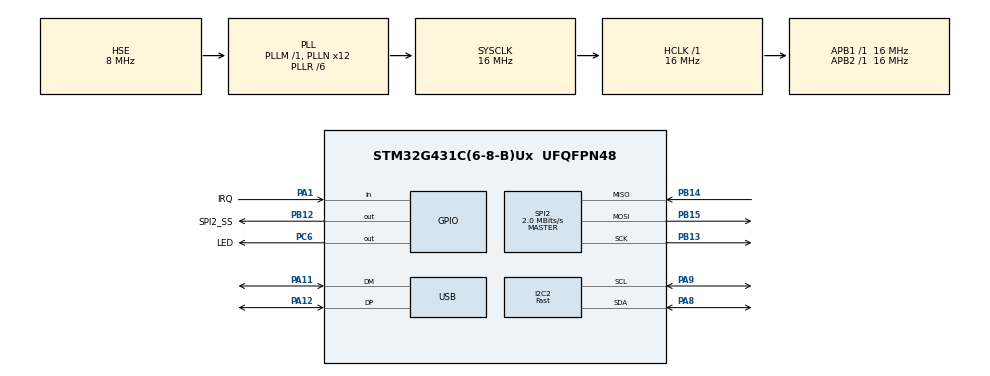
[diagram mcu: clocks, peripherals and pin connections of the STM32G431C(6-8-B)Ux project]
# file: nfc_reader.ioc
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I2C2.Analog_Filter=I2C_ANALOGFILTER_ENABLE
I2C2.I2C_Speed_Mode=I2C_Fast
I2C2.Timing=0x00300617
Mcu.Family=STM32G4
Mcu.Name=STM32G431C(6-8-B)Ux
Mcu.Package=UFQFPN48
NVIC.I2C2_EV_IRQn=true\:0\:0\:false\:false\:true\:true\:true\:true
NVIC.PriorityGroup=NVIC_PRIORITYGROUP_4
NVIC.USB_LP_IRQn=true\:0\:0\:false\:false\:true\:false\:true\:true
PA1.GPIO_Label=IRQ
PA1.Signal=GPIO_Input
PA11.Mode=Device
PA11.Signal=USB_DM
PA12.Mode=Device
PA12.Signal=USB_DP
PA13.Mode=Serial_Wire
PA13.Signal=SYS_JTMS-SWDIO
PA14.Mode=Serial_Wire
PA14.Signal=SYS_JTCK-SWCLK
PA8.GPIO_Pu=GPIO_NOPULL
PA8.GPIO_Speed=GPIO_SPEED_FREQ_HIGH
PA8.Mode=I2C
PA8.Signal=I2C2_SDA
PA9.GPIO_Pu=GPIO_NOPULL
PA9.GPIO_Speed=GPIO_SPEED_FREQ_HIGH
PA9.Mode=I2C
PA9.Signal=I2C2_SCL
PB12.GPIO_Label=SPI2_SS
PB12.GPIO_PuPd=GPIO_PULLUP
PB12.PinState=GPIO_PIN_SET
PB12.Signal=GPIO_Output
PB13.GPIO_Speed=GPIO_SPEED_FREQ_HIGH
PB13.Mode=Full_Duplex_Master
PB13.Signal=SPI2_SCK
PB14.GPIO_PuPd=GPIO_PULLDOWN
PB14.GPIO_Speed=GPIO_SPEED_FREQ_HIGH
PB14.Mode=Full_Duplex_Master
PB14.Signal=SPI2_MISO
PB15.GPIO_Speed=GPIO_SPEED_FREQ_HIGH
PB15.Mode=Full_Duplex_Master
PB15.Signal=SPI2_MOSI
PC14-OSC32_IN.Mode=LSE-External-Oscillator
PC14-OSC32_IN.Signal=RCC_OSC32_IN
PC15-OSC32_OUT.Mode=LSE-External-Oscillator
PC15-OSC32_OUT.Signal=RCC_OSC32_OUT
PC6.GPIO_Label=LED
PC6.Signal=GPIO_Output
PF0-OSC_IN.Mode=HSE-External-Oscillator
PF0-OSC_IN.Signal=RCC_OSC_IN
PF1-OSC_OUT.Mode=HSE-External-Oscillator
PF1-OSC_OUT.Signal=RCC_OSC_OUT
ProjectManager.HeapSize=0x800
ProjectManager.StackSize=0x400
ProjectManager.TargetToolchain=STM32CubeIDE
RCC.ADC12Freq_Value=16000000
RCC.AHBFreq_Value=16000000
RCC.APB1Freq_Value=16000000
RCC.APB1TimFreq_Value=16000000
RCC.APB2Freq_Value=16000000
RCC.APB2TimFreq_Value=16000000
RCC.CortexFreq_Value=16000000
RCC.EXTERNAL_CLOCK_VALUE=12288000
RCC.HCLKFreq_Value=16000000
RCC.HSE_VALUE=8000000
RCC.HSI48_VALUE=48000000
RCC.HSI_VALUE=16000000
RCC.PLLN=12
RCC.PLLR=RCC_PLLR_DIV6
RCC.PLLSourceVirtual=RCC_PLLSOURCE_HSE
RCC.RTCClockSelection=RCC_RTCCLKSOURCE_LSE
RCC.SYSCLKFreq_VALUE=16000000
RCC.SYSCLKSource=RCC_SYSCLKSOURCE_PLLCLK
RCC.USBFreq_Value=48000000
RCC.VCOOutputFreq_Value=96000000
SPI2.BaudRatePrescaler=SPI_BAUDRATEPRESCALER_8
SPI2.CLKPolarity=SPI_POLARITY_HIGH
SPI2.CalculateBaudRate=2.0 MBits/s
SPI2.DataSize=SPI_DATASIZE_8BIT
SPI2.Direction=SPI_DIRECTION_2LINES
SPI2.FirstBit=SPI_FIRSTBIT_MSB
SPI2.Mode=SPI_MODE_MASTER
SPI2.NSSPMode=SPI_NSS_PULSE_DISABLE
SPI2.VirtualType=VM_MASTER
USB.battery_charging_enable=DISABLE
USB_DEVICE.CLASS_NAME_FS=CDC
USB_DEVICE.VirtualMode=Cdc
USB_DEVICE.VirtualModeFS=Cdc_FS
VP_RTC_VS_RTC_Activate.Mode=RTC_Enabled
VP_RTC_VS_RTC_Calendar.Mode=RTC_Calendar
VP_SYS_VS_DBSignals.Mode=DisableDeadBatterySignals
VP_USB_DEVICE_VS_USB_DEVICE_CDC_FS.Mode=CDC_FS
board=custom

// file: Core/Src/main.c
/* USER CODE BEGIN Header */
/**
  ******************************************************************************
  * @file           : main.c
  * @brief          : Main program body
  ******************************************************************************
  * @attention
  *
  * Copyright (c) 2025 STMicroelectronics.
  * All rights reserved.
  *
  * This software is licensed under terms that can be found in the LICENSE file
  * in the root directory of this software component.
  * If no LICENSE file comes with this software, it is provided AS-IS.
  *
  ******************************************************************************
  */
/* USER CODE END Header */
#include "main.h"
#include "i2c.h"
#include "rtc.h"
#include "spi.h"
#include "usb_device.h"
#include "gpio.h"

/* USER CODE BEGIN Includes */
#include "app_nfc.h"
#include "st25r3916_irq.h"
/* USER CODE END Includes */

void SystemClock_Config(void);

/* USER CODE BEGIN 0 */
void LED_ON(void)
{
	HAL_GPIO_WritePin(LED_GPIO_Port, LED_Pin, GPIO_PIN_SET);
}

void LED_OFF(void)
{
	HAL_GPIO_WritePin(LED_GPIO_Port, LED_Pin, GPIO_PIN_RESET);
}
/*
void HAL_GPIO_EXTI_Callback(uint16_t pin)
{
	if(pin == IRQ_Pin) {
		  //st25r3916Isr();
	}
}
*/
void print_hex(unsigned char * data, unsigned int length)
{
	for(int i = 0; i < length; i++) {
		// print not more than 16 symbols in 1 row
		if((i % 16) == 0) {
			printf("\n\r");
		}
		printf("%02X ", data[i]);
	}
	printf("\n\r");
}

/*
HAL_StatusTypeDef platformI2CStart(void)
{
	return HAL_OK;
}

HAL_StatusTypeDef platformI2CStop(void)
{
	return HAL_OK;
}

HAL_StatusTypeDef platformI2CRepeatStart(void)
{
	return HAL_OK;
}

HAL_StatusTypeDef platformI2CSlaveAddrWR(uint8_t slave_addr)
{
	return HAL_OK;
}

HAL_StatusTypeDef platformI2CSlaveAddrRD(uint8_t slave_addr)
{
	return HAL_OK;
}
*/
/*
HAL_StatusTypeDef platformI2CTx(uint8_t *data, uint16_t len, bool last, bool txOnly)
{
	int status;

	printf("I2C transmit: last: %d, txOnly: %d", last, txOnly);
	print_hex(data, len);

	if( last && txOnly ) {
		status = HAL_I2C_Master_Transmit(&hi2c2, ST25R3916_I2C_ADDRESS, data, len, ST25R3916_I2C_TIMEOUT);
	}

    printf("Status: %d\n\r", status);

    return status;
}

HAL_StatusTypeDef platformI2CRx(uint8_t *data, uint16_t len)
{
	int status;

    status = HAL_I2C_Master_Receive(&hi2c2, ST25R3916_I2C_ADDRESS, data, len, ST25R3916_I2C_TIMEOUT);
	printf("I2C receive: ");
	print_hex(data, len);

    return status;
}
*/

/* USER CODE END 0 */

int main(void)
{

  /* MCU Configuration--------------------------------------------------------*/

  /* Reset of all peripherals, Initializes the Flash interface and the Systick. */
  HAL_Init();

  /* Configure the system clock */
  SystemClock_Config();

  /* Initialize all configured peripherals */
  MX_GPIO_Init();
  MX_RTC_Init();
  MX_USB_Device_Init();
  MX_SPI2_Init();
  MX_I2C2_Init();
  /* USER CODE BEGIN 2 */

  // Starting
  HAL_Delay(8000);
  printf("Starting...\n\r");

  // Initialize NFC demo
  if(app_nfc_Ini()) {
	  printf("NFC initialized OK\n\r");
  } else {
	  printf("NFC initialized failed \n\r");
  }

  // start discovery
  app_nfc_start_discovery();

  uint8_t atr[128];
  int atr_len = 0;

  /* USER CODE END 2 */

  /* Infinite loop */
  /* USER CODE BEGIN WHILE */
  while (1)
  {
	  //app_nfc_Cycle();
	  atr_len = app_nfc_get_ATR(atr);
	  if(atr_len > 0) {
		  printf("Tag is found!\n\r");

		  // APDU test
		  //app_nfc_APDU();

		  // stop discovery
		  app_nfc_stop_discovery();

		  // start discovery
		  app_nfc_start_discovery();
	  }

    /* USER CODE END WHILE */

  }
}

void SystemClock_Config(void)
{
  RCC_OscInitTypeDef RCC_OscInitStruct = {0};
  RCC_ClkInitTypeDef RCC_ClkInitStruct = {0};

  /** Configure the main internal regulator output voltage
  */
  HAL_PWREx_ControlVoltageScaling(PWR_REGULATOR_VOLTAGE_SCALE1);

  /** Configure LSE Drive Capability
  */
  HAL_PWR_EnableBkUpAccess();
  __HAL_RCC_LSEDRIVE_CONFIG(RCC_LSEDRIVE_LOW);

  /** Initializes the RCC Oscillators according to the specified parameters
  * in the RCC_OscInitTypeDef structure.
  */
  RCC_OscInitStruct.OscillatorType = RCC_OSCILLATORTYPE_HSE|RCC_OSCILLATORTYPE_LSE;
  RCC_OscInitStruct.HSEState = RCC_HSE_ON;
  RCC_OscInitStruct.LSEState = RCC_LSE_ON;
  RCC_OscInitStruct.PLL.PLLState = RCC_PLL_ON;
  RCC_OscInitStruct.PLL.PLLSource = RCC_PLLSOURCE_HSE;
  RCC_OscInitStruct.PLL.PLLM = RCC_PLLM_DIV1;
  RCC_OscInitStruct.PLL.PLLN = 12;
  RCC_OscInitStruct.PLL.PLLP = RCC_PLLP_DIV2;
  RCC_OscInitStruct.PLL.PLLQ = RCC_PLLQ_DIV2;
  RCC_OscInitStruct.PLL.PLLR = RCC_PLLR_DIV6;
  if (HAL_RCC_OscConfig(&RCC_OscInitStruct) != HAL_OK)
  {
    Error_Handler();
  }

  /** Initializes the CPU, AHB and APB buses clocks
  */
  RCC_ClkInitStruct.ClockType = RCC_CLOCKTYPE_HCLK|RCC_CLOCKTYPE_SYSCLK
                              |RCC_CLOCKTYPE_PCLK1|RCC_CLOCKTYPE_PCLK2;
  RCC_ClkInitStruct.SYSCLKSource = RCC_SYSCLKSOURCE_PLLCLK;
  RCC_ClkInitStruct.AHBCLKDivider = RCC_SYSCLK_DIV1;
  RCC_ClkInitStruct.APB1CLKDivider = RCC_HCLK_DIV1;
  RCC_ClkInitStruct.APB2CLKDivider = RCC_HCLK_DIV1;

  if (HAL_RCC_ClockConfig(&RCC_ClkInitStruct, FLASH_LATENCY_0) != HAL_OK)
  {
    Error_Handler();
  }
}

void Error_Handler(void)
{
  __disable_irq();
  while (1)
  {
  }
}
